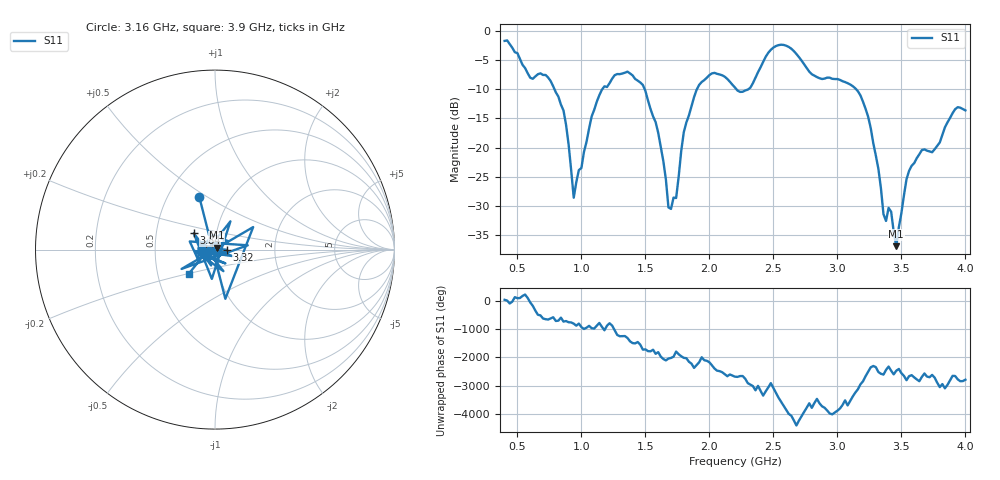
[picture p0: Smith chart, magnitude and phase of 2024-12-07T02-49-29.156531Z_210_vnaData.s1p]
!Created with skrf (http://scikit-rf.org).
# Hz S RI R 50.0
!freq ReS11 ImS11
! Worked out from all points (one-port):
!   181 points, 400 MHz to 4 GHz, reference 50 ohm
!   lowest |S11| = -36.9 dB at 3.46 GHz (marker M1), VSWR 1.03, Z = 51 + j1.01 ohm
!   |S11| at or under -10 dB: 789.6 MHz to 1.163 GHz (373.3 MHz wide, 38.2 % of centre); 1.494 GHz to 1.902 GHz (407.8 MHz wide, 24 % of centre); 3.146 GHz to end of sweep (the widest 3 of 4)
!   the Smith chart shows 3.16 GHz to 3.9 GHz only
!   S11 on the Smith chart (normalised r, x): 3.16 GHz: 0.72, +0.46; 3.32 GHz: 1.14, -0.00; 3.84 GHz: 0.78, +0.14; 3.9 GHz: 0.72, -0.20
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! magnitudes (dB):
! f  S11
! 400 MHz  -1.7
! 600 MHz  -8.0
! 740 MHz  -8.0
! 860 MHz  -13.6
! 940 MHz  -28.6
! 1.12 GHz  -12.2
! 1.3 GHz  -7.4
! 1.5 GHz  -10.3
! 1.6 GHz  -17.5
! 1.68 GHz  -30.3
! 1.74 GHz  -28.7
! 1.76 GHz  -25.0
! 1.8 GHz  -17.4
! 1.92 GHz  -9.2
! 2.2 GHz  -9.7
! 2.32 GHz  -9.7
! 2.5 GHz  -2.8
! 2.66 GHz  -3.5
! 3.1 GHz  -9.2
! 3.16 GHz  -10.3
! 3.32 GHz  -23.6
! 3.36 GHz  -31.4
! 3.42 GHz  -31.0
! 3.46 GHz  -36.9
! 3.56 GHz  -24.0
! 3.84 GHz  -16.5
! 3.9 GHz  -14.1
! 4 GHz  -13.6
